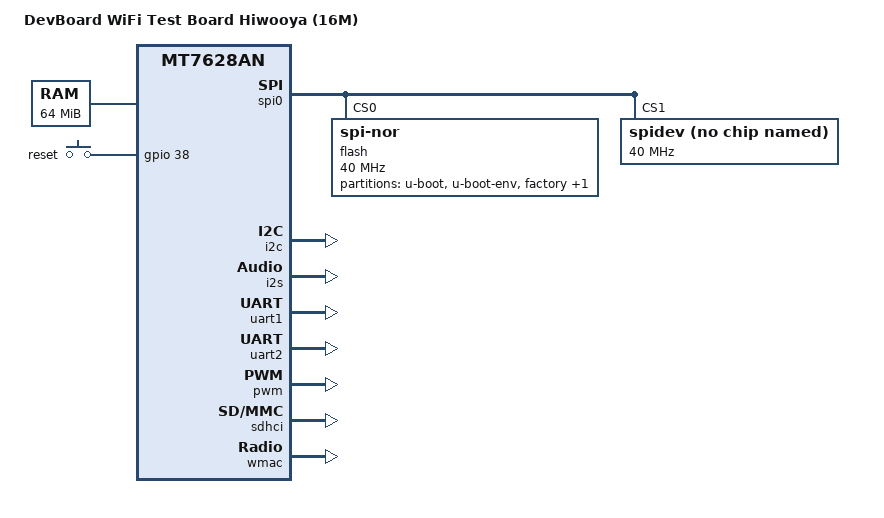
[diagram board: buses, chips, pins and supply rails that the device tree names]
// SPDX-License-Identifier: GPL-2.0-or-later OR MIT

#include "mt7628an.dtsi"

#include <dt-bindings/gpio/gpio.h>
#include <dt-bindings/input/input.h>

/ {
	compatible = "devboard,wifi-test-board-hiwooya-16m", "mediatek,mt7628an-soc";
	model = "DevBoard WiFi Test Board Hiwooya (16M)";

	chosen {
		bootargs = "console=ttyS0,57600";
	};

	memory@0 {
		device_type = "memory";
		reg = <0x0 0x4000000>;
	};

	keys {
		compatible = "gpio-keys-polled";
		poll-interval = <20>;

		reset {
			label = "reset";
			gpios = <&gpio 38 GPIO_ACTIVE_HIGH>;
			linux,code = <KEY_RESTART>;
		};
	};
};

/*
 * Disable switch ports 1-4 (bits 1-4 = 0x1e).
 * The SDIO driver (kmod-sdhci-mt7620) additionally sets AGPIO_CFG bits
 * 17-20 to switch the EPHY1-4 analog pins to digital/GPIO mode.
 */
&esw {
	mediatek,portdisable = <0x1e>;
};

&state_default {
	gpio {
		groups = "refclk", "wdt", "perst", "spis", "gpio", "wled_kn";
		function = "gpio";
	};
	/* i2c, i2s, wled_an, pwm0, pwm1 kept at their functional defaults */
};

&spi0 {
	status = "okay";

	pinctrl-names = "default";
	pinctrl-0 = <&spi_pins>, <&spi_cs1_pins>;

	flash@0 {
		compatible = "jedec,spi-nor";
		reg = <0>;
		spi-max-frequency = <40000000>;

		partitions {
			compatible = "fixed-partitions";
			#address-cells = <1>;
			#size-cells = <1>;

			partition@0 {
				label = "u-boot";
				reg = <0x0 0x30000>;
				read-only;
			};

			partition@30000 {
				label = "u-boot-env";
				reg = <0x30000 0x10000>;
				read-only;
			};

			factory: partition@40000 {
				label = "factory";
				reg = <0x40000 0x10000>;
				read-only;
			};

			partition@50000 {
				compatible = "denx,uimage";
				label = "firmware";
				reg = <0x50000 0xfb0000>;
			};
		};
	};

	spidev@1 {
		compatible = "rohm,dh2228fv";
		reg = <1>;
		spi-max-frequency = <40000000>;
	};
};

&i2c {
	status = "okay";
};

&i2s {
	status = "okay";
};

&uart1 {
	status = "okay";
};

&uart2 {
	status = "okay";
};

&pwm {
	status = "okay";
};

&ethernet {
	nvmem-cells = <&macaddr_factory_28>;
	nvmem-cell-names = "mac-address";
};

&sdhci {
	status = "okay";
	mediatek,cd-low;
};

&wmac {
	status = "okay";

	mediatek,mtd-eeprom = <&factory 0x0>;
};

&factory {
	compatible = "nvmem-cells";
	#address-cells = <1>;
	#size-cells = <1>;

	macaddr_factory_28: macaddr@28 {
		reg = <0x28 0x6>;
	};
};
